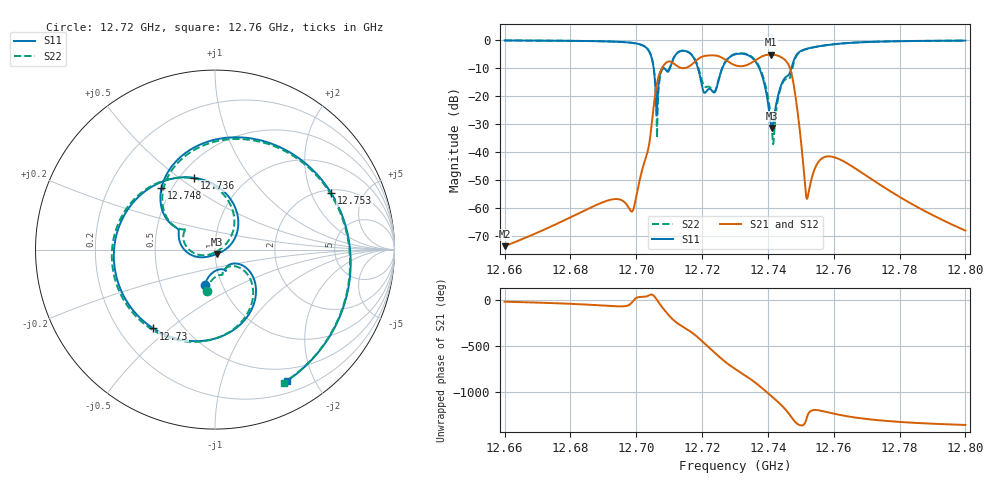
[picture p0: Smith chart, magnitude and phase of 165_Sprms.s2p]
! TOUCHSTONE file generated by CST MICROWAVE STUDIO
! Date and time: Wed Jul 31 19:11:48 2024
! Project name: WaveGuide_BPF-Ver4.1_U-shape_Ku_T3_C4_CWA_2.cst
! Parameters = {cavity_h=16; cavity_l0=10; cavity_l1=15.1704; cavity_l2=16.8281; cavity_l3=17.1206; cavity_l4=17.2684; cavity_l5=17.142; cavity_l6=17.6072; cavity_r=2.5; cavity_screw_l=0.5; cavity_screw_r=1.5; cavity_w=8; iris_h00=0; iris_h01=8.833; iris_h112=0; iris_h12=5.6133; iris_h211=3.6516; ir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
! Header version: 2018
! Port assignment regex: !\s*Touchstone port\s*([0-9]+)\s*=\s*(CST MWS port|CST DS port)\s*([0-9]+|Zmin|Zmax)\s*\(\"(.*)\"\)(\s*mode\s*([0-9]+))?.*
! Touchstone port assignment:
! Touchstone port 1 = CST MWS port 1 ("")
! Touchstone port 2 = CST MWS port 2 ("")
# GHz S RI R 50
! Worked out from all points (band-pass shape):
!   5001 points, 12.66 GHz to 12.8 GHz, reference 50 ohm
!   highest |S21| = -5.20 dB at 12.741 GHz (marker M1); lowest = -73.8 dB at 12.66 GHz (marker M2)
!   |S21| within 3 dB of the highest: 12.7174 GHz to 12.72856 GHz (11.16 MHz wide, 0.0877 % of centre); 12.73489 GHz to 12.74594 GHz (11.04 MHz wide, 0.0867 % of centre)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
!   lowest |S11| = -31.5 dB at 12.741 GHz (marker M3), VSWR 1.05, Z = 50.8 - j2.54 ohm
!   |S11| at or under -10 dB: 12.70527 GHz to 12.70811 GHz (2.834 MHz wide, 0.0223 % of centre); 12.71872 GHz to 12.72617 GHz (7.456 MHz wide, 0.0586 % of centre); 12.73734 GHz to 12.74715 GHz (9.813 MHz wide, 0.077 % of centre)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
!   |S22| runs from -37.3 to -0.2 dB; largest |S21 - S12| = 1e-09
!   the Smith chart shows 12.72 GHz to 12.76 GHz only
!   S11 on the Smith chart (normalised r, x): 12.72 GHz: 0.83, -0.34; 12.73 GHz: 0.34, -0.44; 12.736 GHz: 0.59, +0.57; 12.748 GHz: 0.44, +0.38; 12.753 GHz: 2.15, +2.81; 12.76 GHz: 0.34, -1.64
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12.66  0.2848 0.9405  0.000191 -7.22e-05  0.000191 -7.22e-05  0.2904 0.9387
12.68335  0.6717 0.6913  0.000546 -0.000632  0.000546 -0.000632  0.6786 0.6841
12.69892  0.8881 -0.0132  0.000835 -0.00027  0.000835 -0.00027  0.8864 -0.0316
12.70396  0.3874 -0.4841  0.00914 0.0107  0.00914 0.0107  0.3718 -0.4983
12.70668  0.122 0.0678  0.1958 -0.0775  0.1958 -0.0775  0.0799 0.0688
12.71303  0.6136 -0.0664  -0.0185 0.3263  -0.0185 0.3263  0.6181 -0.067
12.7195  -0.057 -0.1974  0.1472 -0.4644  0.1472 -0.4644  -0.0454 -0.2332
12.72255  0.0588 -0.1174  -0.5266 -0.0709  -0.5266 -0.0709  0.042 -0.1334
12.72527  0.1858 -0.1129  -0.095 0.4983  -0.095 0.4983  0.1776 -0.1336
12.73  -0.3 -0.4641  0.3129 -0.1661  0.3129 -0.1661  -0.3187 -0.4635
12.73025  -0.3439 -0.4392  0.2908 -0.1953  0.2908 -0.1953  -0.3609 -0.4384
12.73619  -0.1144 0.3997  -0.4342 -0.0169  -0.4342 -0.0169  -0.1591 0.4014
12.74084  0.0277 -0.0171  0.397 0.3798  0.397 0.3798  0.0422 0.0129
12.7412  0.009 -0.025  0.463 0.2944  0.463 0.2944  0.0253 -0.000251
12.74448  -0.1803 0.0115  0.1196 -0.4599  0.1196 -0.4599  -0.1678 0.0319
12.748  -0.2982 0.3423  -0.0855 0.1084  -0.0855 0.1084  -0.293 0.3003
12.75148  0.4521 0.5196  -0.00103 0.00157  -0.00103 0.00157  0.4484 0.5141
12.75274  0.6468 0.3158  -0.0016 -0.0018  -0.0016 -0.0018  0.646 0.3074
12.75335  0.7053 0.1989  -0.00163 -0.00303  -0.00163 -0.00303  0.7044 0.1886
12.75954  0.4019 -0.7309  -0.00702 -0.00411  -0.00702 -0.00411  0.3843 -0.7406
12.77668  -0.8102 -0.487  -0.0012 0.00166  -0.0012 0.00166  -0.8176 -0.4758
12.8  -0.9651 0.1528  3.79e-05 0.000386  3.79e-05 0.000386  -0.9642 0.16
